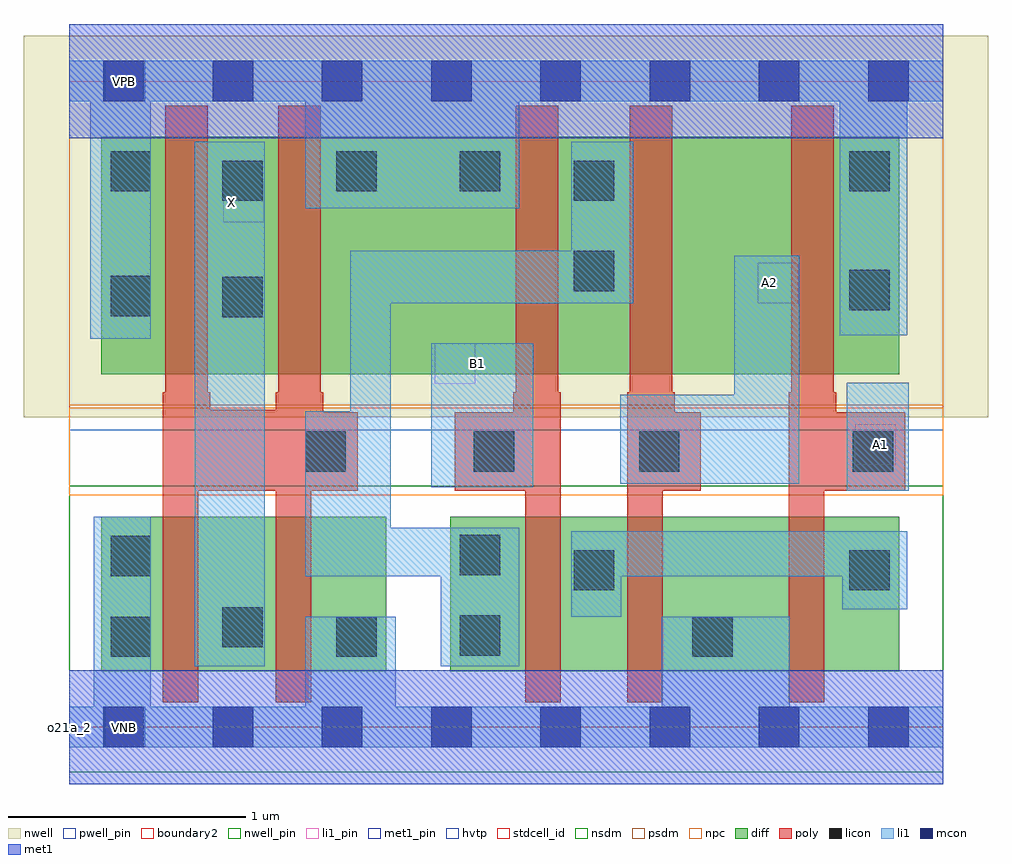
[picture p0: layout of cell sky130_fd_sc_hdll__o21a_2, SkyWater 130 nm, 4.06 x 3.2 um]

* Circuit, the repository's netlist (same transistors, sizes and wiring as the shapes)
* Copyright 2020 The SkyWater PDK Authors
*
* Licensed under the Apache License, Version 2.0 (the "License");
* you may not use this file except in compliance with the License.
* You may obtain a copy of the License at
*
*     https://www.apache.org/licenses/LICENSE-2.0
*
* Unless required by applicable law or agreed to in writing, software
* distributed under the License is distributed on an "AS IS" BASIS,
* WITHOUT WARRANTIES OR CONDITIONS OF ANY KIND, either express or implied.
* See the License for the specific language governing permissions and
* limitations under the License.
*
* SPDX-License-Identifier: Apache-2.0

.SUBCKT sky130_fd_sc_hdll__o21a_2 A1 A2 B1 VGND VNB VPB VPWR X
*.PININFO A1:I A2:I B1:I VGND:I VNB:I VPB:I VPWR:I X:O
MMPA0 VPWR A1 sndA1 VPB sky130_fd_pr__pfet_01v8_hvt m=1 w=1.0U l=0.18U mult=1 sa=0.265
+ sb=0.265 sd=0.28 area=0.063 perim=1.14
MMPA1 sndA1 A2 y VPB sky130_fd_pr__pfet_01v8_hvt m=1 w=1.0U l=0.18U mult=1 sa=0.265
+ sb=0.265 sd=0.28 area=0.063 perim=1.14
MMPB0 VPWR B1 y VPB sky130_fd_pr__pfet_01v8_hvt m=1 w=1.0U l=0.18U mult=1 sa=0.265
+ sb=0.265 sd=0.28 area=0.063 perim=1.14
MMIPX X y VPWR VPB sky130_fd_pr__pfet_01v8_hvt m=2 w=1.0U l=0.18U mult=1 sa=0.265
+ sb=0.265 sd=0.28 area=0.063 perim=1.14
MMNA0 pndA A1 VGND VNB sky130_fd_pr__nfet_01v8 m=1 w=0.65U l=0.15U mult=1 sa=0.265
+ sb=0.265 sd=0.28 area=0.063 perim=1.14
MMNA1 pndA A2 VGND VNB sky130_fd_pr__nfet_01v8 m=1 w=0.65U l=0.15U mult=1 sa=0.265
+ sb=0.265 sd=0.28 area=0.063 perim=1.14
MMNB0 y B1 pndA VNB sky130_fd_pr__nfet_01v8 m=1 w=0.65U l=0.15U mult=1 sa=0.265
+ sb=0.265 sd=0.28 area=0.063 perim=1.14
MMINX X y VGND VNB sky130_fd_pr__nfet_01v8 m=2 w=0.65U l=0.15U mult=1 sa=0.265
+ sb=0.265 sd=0.28 area=0.063 perim=1.14
.ENDS sky130_fd_sc_hdll__o21a_2

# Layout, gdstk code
import gdstk
lib = gdstk.Library(unit=1e-6, precision=1e-09)
def R(c, l, rs):  # rectangles x0, y0, x1, y1
    for r in rs: c.add(gdstk.rectangle(r[:2], r[2:], *l))
def A(c, l, x, y, w, h, nx, ny, dx, dy):  # array of equal rectangles
    R(c, l, [(x+i*dx, y+j*dy, x+i*dx+w, y+j*dy+h) for i in range(nx) for j in range(ny)])
def P(c, l, *ps):  # polygons
    for p in ps: c.add(gdstk.Polygon(p, *l))
nwell_pin = (64, 16)
nwell = (64, 20)
diff = (65, 20)
poly = (66, 20)
licon = (66, 44)
li1_pin = (67, 16)
li1 = (67, 20)
mcon = (67, 44)
met1_pin = (68, 16)
met1 = (68, 20)
hvtp = (78, 44)
stdcell_id = (81, 4)
nsdm = (93, 44)
psdm = (94, 20)
npc = (95, 20)
pwell_pin = (122, 16)
boundary2 = (236, 0)

sky130_fd_sc_hdll__o21a_ = lib.new_cell('sky130_fd_sc_hdll__o21a_2')
R(sky130_fd_sc_hdll__o21a_, nwell_pin, [(0.15,2.635,0.32,2.805)])
R(sky130_fd_sc_hdll__o21a_, nwell, [(-0.19,1.305,3.87,2.91)])
R(sky130_fd_sc_hdll__o21a_, diff, [(0.135,0.235,1.335,0.885), (1.605,0.235,3.495,0.885), (0.135,1.485,3.495,2.485)])
P(sky130_fd_sc_hdll__o21a_, poly, [(1.215,1.325),(1.07,1.325),(1.07,1.41),(1.06,1.41),(1.06,2.615),(0.88,2.615),(0.88,1.41),(0.87,1.41),(0.87,1.335),(0.595,1.335),(0.595,1.41),(0.585,1.41),(0.585,2.615),(0.405,2.615),(0.405,1.41),(0.395,1.41),(0.395,0.105),(0.545,0.105),(0.545,0.995),(0.87,0.995),(0.87,0.105),(1.02,0.105),(1.02,0.995),(1.215,0.995)],
  [(2.07,1.41),(2.06,1.41),(2.06,2.615),(1.88,2.615),(1.88,1.41),(1.87,1.41),(1.87,1.325),(1.625,1.325),(1.625,0.995),(1.92,0.995),(1.92,0.105),(2.07,0.105)],
  [(2.66,1.325),(2.55,1.325),(2.55,1.41),(2.54,1.41),(2.54,2.615),(2.36,2.615),(2.36,1.41),(2.35,1.41),(2.35,0.105),(2.5,0.105),(2.5,0.995),(2.66,0.995)],
  [(3.52,1.325),(3.23,1.325),(3.23,1.41),(3.22,1.41),(3.22,2.615),(3.04,2.615),(3.04,1.41),(3.03,1.41),(3.03,0.105),(3.18,0.105),(3.18,0.995),(3.52,0.995)])
R(sky130_fd_sc_hdll__o21a_, licon, [(0.175,0.295,0.345,0.465), (1.125,0.295,1.295,0.465), (2.625,0.295,2.795,0.465), (1.645,0.3,1.815,0.47), (0.645,0.335,0.815,0.505), (2.125,0.575,2.295,0.745), (3.285,0.575,3.455,0.745), (0.175,0.635,0.345,0.805), (1.645,0.64,1.815,0.81), (0.995,1.075,1.165,1.245), (1.705,1.075,1.875,1.245), (2.4,1.075,2.57,1.245), (3.3,1.075,3.47,1.245), (0.645,1.725,0.815,1.895), (0.175,1.73,0.345,1.9), (3.285,1.755,3.455,1.925), (2.125,1.835,2.295,2.005), (0.645,2.215,0.815,2.385), (2.125,2.215,2.295,2.385), (0.175,2.255,0.345,2.425), (1.125,2.255,1.295,2.425), (1.645,2.255,1.815,2.425), (3.285,2.255,3.455,2.425)])
R(sky130_fd_sc_hdll__o21a_, li1_pin, [(3.31,1.105,3.48,1.275), (1.54,1.445,1.71,1.615), (2.9,1.785,3.07,1.955), (0.65,2.125,0.82,2.295)])
R(sky130_fd_sc_hdll__o21a_, li1, [(0.53,0.255,0.825,2.465), (3.275,0.995,3.535,1.45), (1.525,1.01,1.955,1.615)])
P(sky130_fd_sc_hdll__o21a_, li1, [(3.68,0.085),(3.035,0.085),(3.035,0.465),(2.495,0.465),(2.495,0.085),(1.375,0.085),(1.375,0.465),(0.995,0.465),(0.995,0.085),(0.345,0.085),(0.345,0.885),(0.105,0.885),(0.105,0.085),(0,0.085),(0,-0.085),(3.68,-0.085)],
  [(3.68,2.805),(0,2.805),(0,2.635),(0.09,2.635),(0.09,1.635),(0.345,1.635),(0.345,2.635),(0.995,2.635),(0.995,2.185),(1.895,2.185),(1.895,2.635),(3.245,2.635),(3.245,1.65),(3.53,1.65),(3.53,2.635),(3.68,2.635)],
  [(2.375,2.465),(2.115,2.465),(2.115,2.005),(1.185,2.005),(1.185,1.33),(0.995,1.33),(0.995,0.635),(1.565,0.635),(1.565,0.255),(1.895,0.255),(1.895,0.84),(1.355,0.84),(1.355,1.785),(2.375,1.785)],
  [(3.075,1.985),(2.8,1.985),(2.8,1.4),(2.32,1.4),(2.32,1.025),(3.075,1.025)],
  [(3.53,0.825),(2.115,0.825),(2.115,0.465),(2.325,0.465),(2.325,0.635),(3.255,0.635),(3.255,0.495),(3.53,0.495)])
A(sky130_fd_sc_hdll__o21a_, mcon, 0.145, -0.085, 0.17, 0.17, 8, 2, 0.46, 2.72)
R(sky130_fd_sc_hdll__o21a_, met1_pin, [(0.15,-0.085,0.32,0.085), (0.15,2.635,0.32,2.805)])
R(sky130_fd_sc_hdll__o21a_, met1, [(0,-0.24,3.68,0.24), (0,2.48,3.68,2.96)])
R(sky130_fd_sc_hdll__o21a_, hvtp, [(0,1.25,3.68,2.72)])
R(sky130_fd_sc_hdll__o21a_, stdcell_id, [(0,0,3.68,2.72)])
R(sky130_fd_sc_hdll__o21a_, nsdm, [(0,-0.19,3.68,1.015)])
R(sky130_fd_sc_hdll__o21a_, psdm, [(0,1.355,3.68,2.91)])
R(sky130_fd_sc_hdll__o21a_, npc, [(0,0.975,3.68,1.345)])
R(sky130_fd_sc_hdll__o21a_, pwell_pin, [(0.15,-0.085,0.32,0.085)])
R(sky130_fd_sc_hdll__o21a_, boundary2, [(0,0,3.68,2.72)])
sky130_fd_sc_hdll__o21a_.add(gdstk.Label('A1', (3.415,1.19), layer=67, texttype=5))
sky130_fd_sc_hdll__o21a_.add(gdstk.Label('B1', (1.72,1.53), layer=67, texttype=5))
sky130_fd_sc_hdll__o21a_.add(gdstk.Label('A2', (2.95,1.87), layer=67, texttype=5))
sky130_fd_sc_hdll__o21a_.add(gdstk.Label('X', (0.685,2.21), layer=67, texttype=5))
sky130_fd_sc_hdll__o21a_.add(gdstk.Label('VNB', (0.235,0), layer=64, texttype=59))
sky130_fd_sc_hdll__o21a_.add(gdstk.Label('VPB', (0.235,2.72), layer=64, texttype=5))
sky130_fd_sc_hdll__o21a_.add(gdstk.Label('VGND', (0.235,0), layer=68, texttype=5))
sky130_fd_sc_hdll__o21a_.add(gdstk.Label('VPWR', (0.235,2.72), layer=68, texttype=5))
sky130_fd_sc_hdll__o21a_.add(gdstk.Label('o21a_2', (0,0), layer=83, texttype=44))

lib.write_gds('sky130_fd_sc_hdll__o21a_2.gds')
